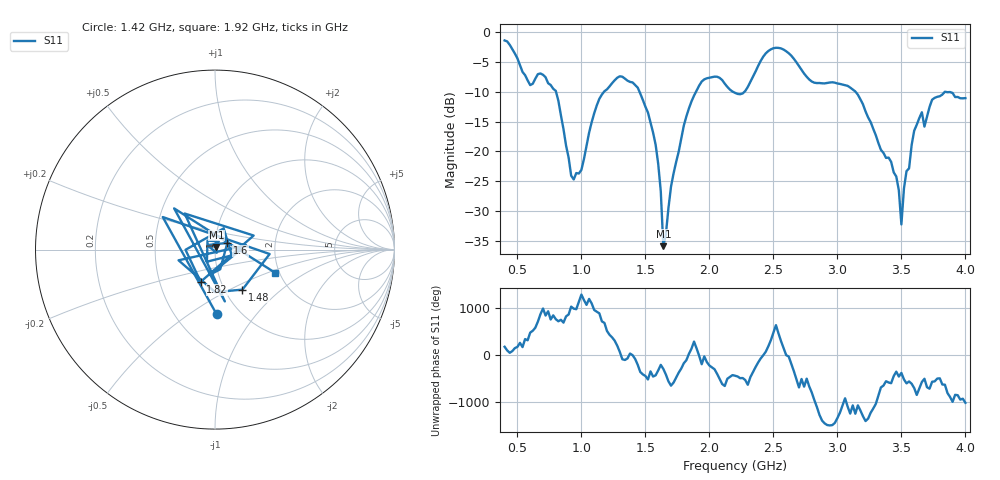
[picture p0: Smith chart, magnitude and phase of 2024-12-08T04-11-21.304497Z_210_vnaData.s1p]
!Created with skrf (http://scikit-rf.org).
# Hz S RI R 50.0
!freq ReS11 ImS11
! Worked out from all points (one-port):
!   181 points, 400 MHz to 4 GHz, reference 50 ohm
!   lowest |S11| = -36.0 dB at 1.64 GHz (marker M1), VSWR 1.03, Z = 50.7 + j1.42 ohm
!   |S11| at or under -10 dB: 801.8 MHz to 1.176 GHz (374.6 MHz wide, 37.9 % of centre); 1.454 GHz to 1.895 GHz (441.2 MHz wide, 26.3 % of centre); 3.142 GHz to 3.839 GHz (697.3 MHz wide, 20 % of centre) (the widest 3 of 5)
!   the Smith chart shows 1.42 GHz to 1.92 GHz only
!   S11 on the Smith chart (normalised r, x): 1.42 GHz: 0.78, -0.65; 1.48 GHz: 1.21, -0.58; 1.6 GHz: 1.14, +0.09; 1.82 GHz: 0.80, -0.30; 1.92 GHz: 1.89, -0.55
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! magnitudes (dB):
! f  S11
! 400 MHz  -1.4
! 600 MHz  -8.9
! 800 MHz  -9.8
! 860 MHz  -16.3
! 940 MHz  -24.7
! 1.14 GHz  -11.2
! 1.3 GHz  -7.4
! 1.42 GHz  -8.9
! 1.48 GHz  -11.4
! 1.6 GHz  -22.1
! 1.64 GHz  -36.0
! 1.76 GHz  -20.1
! 1.82 GHz  -14.1
! 1.92 GHz  -9.0
! 2.2 GHz  -10.2
! 2.48 GHz  -2.9
! 2.66 GHz  -4.5
! 3.1 GHz  -9.3
! 3.42 GHz  -21.8
! 3.48 GHz  -26.6
! 3.5 GHz  -32.3
! 3.52 GHz  -26.2
! 3.56 GHz  -22.9
! 3.6 GHz  -16.5
! 3.66 GHz  -13.4
! 3.68 GHz  -15.8
! 3.76 GHz  -11.0
! 4 GHz  -11.1
